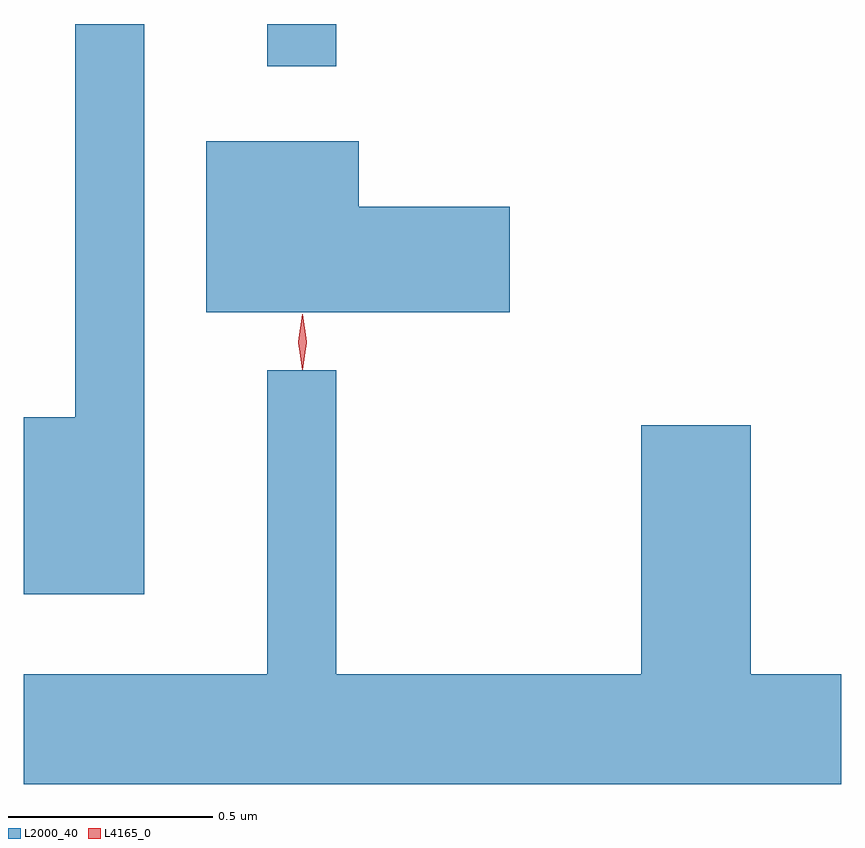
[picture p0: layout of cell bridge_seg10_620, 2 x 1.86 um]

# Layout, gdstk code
import gdstk
lib = gdstk.Library(unit=1e-6, precision=1e-09)
def R(c, l, rs):  # rectangles x0, y0, x1, y1
    for r in rs: c.add(gdstk.rectangle(r[:2], r[2:], *l))
def P(c, l, *ps):  # polygons
    for p in ps: c.add(gdstk.Polygon(p, *l))
L2000_40 = (2000, 40)
L4165_0 = (4165, 0)

bridge_seg10_620 = lib.new_cell('bridge_seg10_620')
R(bridge_seg10_620, L2000_40, [(633.741,2182.273,633.909,2182.376)])
P(bridge_seg10_620, L2000_40, [(633.439,2182.376),(633.271,2182.376),(633.271,2181.414),(633.145,2181.414),(633.145,2180.981),(633.439,2180.981)],
  [(634.334,2181.929),(633.964,2181.929),(633.964,2182.089),(633.591,2182.089),(633.591,2181.671),(634.334,2181.671)],
  [(635.145,2180.784),(634.924,2180.784),(634.924,2181.394),(634.656,2181.394),(634.656,2180.784),(633.909,2180.784),(633.909,2181.528),(633.741,2181.528),(633.741,2180.784),(633.145,2180.784),(633.145,2180.516),(635.145,2180.516)])
P(bridge_seg10_620, L4165_0, [(633.826,2181.533),(633.817,2181.596),(633.826,2181.66),(633.827,2181.66),(633.827,2181.66),(633.837,2181.596),(633.827,2181.533),(633.827,2181.533)],
  [(633.826,2181.53),(633.817,2181.598),(633.826,2181.666),(633.827,2181.666),(633.827,2181.666),(633.837,2181.598),(633.827,2181.53),(633.827,2181.53)])

lib.write_gds('bridge_seg10_620.gds')
